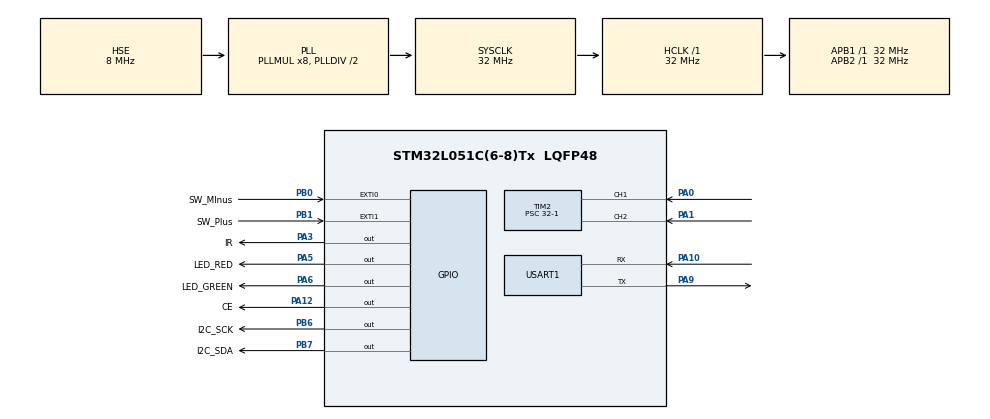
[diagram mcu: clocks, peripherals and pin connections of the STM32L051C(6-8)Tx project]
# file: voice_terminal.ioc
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Mcu.Family=STM32L0
Mcu.Name=STM32L051C(6-8)Tx
Mcu.Package=LQFP48
NVIC.EXTI0_1_IRQn=true\:0\:0\:false\:false\:true\:true\:true\:true
NVIC.TIM21_IRQn=true\:0\:0\:false\:false\:true\:true\:true\:true
NVIC.TIM2_IRQn=true\:1\:0\:true\:false\:true\:true\:true\:true
NVIC.TIM6_DAC_IRQn=true\:0\:0\:false\:false\:true\:true\:true\:true
PA0.GPIO_PuPd=GPIO_PULLUP
PA0.GPIO_Speed=GPIO_SPEED_FREQ_HIGH
PA0.Signal=S_TIM2_CH1
PA1.GPIO_PuPd=GPIO_PULLUP
PA1.GPIO_Speed=GPIO_SPEED_FREQ_HIGH
PA1.Signal=S_TIM2_CH2
PA10.Mode=Asynchronous
PA10.Signal=USART1_RX
PA12.GPIO_Label=CE
PA12.PinState=GPIO_PIN_RESET
PA12.Signal=GPIO_Output
PA13.Mode=Serial_Wire
PA13.Signal=SYS_SWDIO
PA14.Mode=Serial_Wire
PA14.Signal=SYS_SWCLK
PA3.GPIO_Label=IR
PA3.GPIO_Speed=GPIO_SPEED_FREQ_HIGH
PA3.Signal=GPIO_Output
PA5.GPIO_Label=LED_RED
PA5.PinState=GPIO_PIN_RESET
PA5.Signal=GPIO_Output
PA6.GPIO_Label=LED_GREEN
PA6.GPIO_PuPd=GPIO_NOPULL
PA6.PinState=GPIO_PIN_SET
PA6.Signal=GPIO_Output
PA9.Mode=Asynchronous
PA9.Signal=USART1_TX
PB0.GPIO_Label=SW_MInus
PB0.GPIO_ModeDefaultEXTI=GPIO_MODE_IT_RISING_FALLING
PB0.GPIO_PuPd=GPIO_PULLUP
PB0.Signal=GPXTI0
PB1.GPIO_Label=SW_Plus
PB1.GPIO_ModeDefaultEXTI=GPIO_MODE_IT_RISING_FALLING
PB1.GPIO_PuPd=GPIO_PULLUP
PB1.Signal=GPXTI1
PB6.GPIO_FM6=__NULL
PB6.GPIO_Label=I2C_SCK
PB6.GPIO_ModeDefaultOutputPP=GPIO_MODE_OUTPUT_OD
PB6.GPIO_PuPd=GPIO_NOPULL
PB6.GPIO_Speed=GPIO_SPEED_FREQ_HIGH
PB6.Signal=GPIO_Output
PB7.GPIO_FM7=__NULL
PB7.GPIO_Label=I2C_SDA
PB7.GPIO_ModeDefaultOutputPP=GPIO_MODE_OUTPUT_OD
PB7.GPIO_PuPd=GPIO_NOPULL
PB7.GPIO_Speed=GPIO_SPEED_FREQ_HIGH
PB7.Signal=GPIO_Output
PH0-OSC_IN.Mode=HSE-External-Oscillator
PH0-OSC_IN.Signal=RCC_OSC_IN
PH1-OSC_OUT.Mode=HSE-External-Oscillator
PH1-OSC_OUT.Signal=RCC_OSC_OUT
ProjectManager.HeapSize=0x200
ProjectManager.StackSize=0x400
ProjectManager.TargetToolchain=Makefile
RCC.AHBFreq_Value=32000000
RCC.APB1Freq_Value=32000000
RCC.APB1TimFreq_Value=32000000
RCC.APB2Freq_Value=32000000
RCC.APB2TimFreq_Value=32000000
RCC.HCLKFreq_Value=32000000
RCC.HSE_VALUE=8000000
RCC.HSI16_VALUE=16000000
RCC.HSI_VALUE=16000000
RCC.LSE_VALUE=32768
RCC.MSI_VALUE=2097000
RCC.PLLMUL=RCC_PLLMUL_8
RCC.PLLSourceVirtual=RCC_PLLSOURCE_HSE
RCC.PREFETCH_ENABLE=1
RCC.SYSCLKFreq_VALUE=32000000
RCC.SYSCLKSource=RCC_SYSCLKSOURCE_PLLCLK
RCC.VCOOutputFreq_Value=64000000
SH.S_TIM2_CH1.0=TIM2_CH1,Input_Capture1_from_TI1
SH.S_TIM2_CH2.0=TIM2_CH2,Input_Capture2_from_TI2
TIM2.Channel-Input_Capture1_from_TI1=TIM_CHANNEL_1
TIM2.Channel-Input_Capture2_from_TI2=TIM_CHANNEL_2
TIM2.ICFilter_CH1=0x03
TIM2.ICFilter_CH2=0x03
TIM2.Period=6000-1
TIM2.Prescaler=32-1
TIM21.AutoReloadPreload=TIM_AUTORELOAD_PRELOAD_ENABLE
TIM21.Period=12
TIM21.Prescaler=31
TIM22.Prescaler=32-1
TIM6.AutoReloadPreload=TIM_AUTORELOAD_PRELOAD_DISABLE
TIM6.Period=1000-1
TIM6.Prescaler=3200-1
USART1.VirtualMode-Asynchronous=VM_ASYNC
VP_TIM21_VS_ClockSourceINT.Mode=Internal
VP_TIM22_VS_ClockSourceINT.Mode=Internal
VP_TIM2_VS_ClockSourceINT.Mode=Internal
VP_TIM6_VS_ClockSourceINT.Mode=Enable_Timer
board=custom

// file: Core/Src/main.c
/* USER CODE BEGIN Header */
/**
 ******************************************************************************
 * @file           : main.c
 * @brief          : Main program body
 ******************************************************************************
 * @attention
 *
 * Copyright (c) 2023 STMicroelectronics.
 * All rights reserved.
 *
 * This software is licensed under terms that can be found in the LICENSE file
 * in the root directory of this software component.
 * If no LICENSE file comes with this software, it is provided AS-IS.
 *
 ******************************************************************************
 */
/* USER CODE END Header */
#include "main.h"
#include "tim.h"
#include "usart.h"
#include "gpio.h"

/* USER CODE BEGIN Includes */
#include "bk9535.h"
#include "syscall.h"
#include "key.h"
#include "config.h"
#include "irda.h"
#include "irtx.h"
#include "eeprom.h"
#include "oled.h"
#include "stdio.h"
#include "stdlib.h"
/* USER CODE END Includes */

void SystemClock_Config(void);

/* USER CODE BEGIN 0 */
vu32 time_delay;
uint8_t local_id = 0;

const uint8_t LOCAL_ID[16] = {
    0x10,
    0x11,
    0x12,
    0x13,
    0x14,
    0x15,
    0x16,
    0x17,
    0x18,
    0x19,
    0x1A,
    0x1B,
    0x1C,
    0x1E,
    0x1F,
    0x20};
/* USER CODE END 0 */

int main(void)
{
  /* USER CODE BEGIN 1 */
  // USER_DATA.rUserFreqIndex = DEFAULT_FREQ;
  USER_DATA.UserId.dword = DEF_USER_ID;
  /* USER CODE END 1 */

  /* MCU Configuration--------------------------------------------------------*/

  /* Reset of all peripherals, Initializes the Flash interface and the Systick. */
  HAL_Init();

  /* Configure the system clock */
  SystemClock_Config();

  /* Initialize all configured peripherals */
  MX_GPIO_Init();
  MX_USART1_UART_Init();
  MX_TIM6_Init();
  MX_TIM2_Init();
  MX_TIM21_Init();
  MX_TIM22_Init();
  /* USER CODE BEGIN 2 */

  HAL_TIM_Base_Start_IT(&htim2);
  KEY_Config();

  HAL_Delay(100);

  rWorkChannel = CHA;
  EEPROM_Read_W_CHECK(FREQ_ADDR, &USER_DATA.rUserFreqIndex, 1);
  EEPROM_Read_W_CHECK(LOCAL_ID_ADDR, &local_id, 1);
  Flash_LED(LED_RED, 50, 5, LIGHT_ON);
  HAL_GPIO_WritePin(CE_GPIO_Port, CE_Pin, SET);

  if (BK_Init())
    Flash_LED(LED_GREEN, 50, 5, LIGHT_ON);
  OLED_Init();
  t_PCMCfg cfg;
  cfg.bclk = PCM_SCK_I;
  cfg.dat = PCM_SDA_I;
  cfg.ch = RIGHT_CHANNEL;
  cfg.mode = PCM_SLAVE;
  cfg.lrck = PCM_LRCK_I;
  BK_Tx_I2SOpen(cfg);
  SwitchFreqByIndex(USER_DATA.rUserFreqIndex);
  OLED_ShowString(35, 23, (u8 *)"FREQ:", 12);
  OLED_ShowString(35, 45, (u8 *)"ID:", 12);
  char freq_char[9];
  float freq_num = FreqTableA[USER_DATA.rUserFreqIndex] / 10.0;
  sprintf(freq_char, "%.1f", freq_num);
  OLED_ShowString(35, 21, (u8 *)freq_char, 16);
  OLED_ShowString(77, 25, (u8 *)"MHz", 12);
  OLED_ShowString(35, 43, (u8 *)"ID:", 16);
  // Disp_ID(local_id);
  //   OLED_ShowNum(50, 40, 12, 2, 16);
  //         TX_WriteID(USER_DATA.UserId.dword);

  /* USER CODE END 2 */

  /* Infinite loop */
  /* USER CODE BEGIN WHILE */
  while (1)
  {
    static uint8_t interval = 0;
    /* USER CODE END WHILE */

    /* USER CODE BEGIN 3 */
    delay_nms(50);
    KEY_Scan();
    /* if (interval > 20)
    {
      IR_PostData(0x02);
      interval = 0;
    } */
    // HAL_GPIO_WritePin(IR_GPIO_Port, IR_Pin, SET);   限流电阻15欧，红外发射工作电流130mA
    uint8_t irda = get_IR_Address();
    if (irda != 0xee)
    {
      // printf("%0X", irda);
      char addr_char[6];
      sprintf(addr_char, "%#X ", irda);
      OLED_ShowString(35, 43, (u8 *)addr_char, 16);
      Flash_LED(LED_RED, 50, 1, FOLLOW_PREVIOUS);
      interval = 0;
    }
    else if (interval > 30)
    {
      char addr_char[6] = "NO IR";
      OLED_ShowString(35, 43, (u8 *)addr_char, 16);
    }
    /* if (remote_scan() == 0x02)
      Flash_LED(LED_RED, 50, 1, FOLLOW_PREVIOUS); */

    interval++;
  }
  /* USER CODE END 3 */
}

void SystemClock_Config(void)
{
  RCC_OscInitTypeDef RCC_OscInitStruct = {0};
  RCC_ClkInitTypeDef RCC_ClkInitStruct = {0};
  RCC_PeriphCLKInitTypeDef PeriphClkInit = {0};

  /** Configure the main internal regulator output voltage
   */
  __HAL_PWR_VOLTAGESCALING_CONFIG(PWR_REGULATOR_VOLTAGE_SCALE1);

  /** Initializes the RCC Oscillators according to the specified parameters
   * in the RCC_OscInitTypeDef structure.
   */
  RCC_OscInitStruct.OscillatorType = RCC_OSCILLATORTYPE_HSE;
  RCC_OscInitStruct.HSEState = RCC_HSE_ON;
  RCC_OscInitStruct.PLL.PLLState = RCC_PLL_ON;
  RCC_OscInitStruct.PLL.PLLSource = RCC_PLLSOURCE_HSE;
  RCC_OscInitStruct.PLL.PLLMUL = RCC_PLLMUL_8;
  RCC_OscInitStruct.PLL.PLLDIV = RCC_PLLDIV_2;
  if (HAL_RCC_OscConfig(&RCC_OscInitStruct) != HAL_OK)
  {
    Error_Handler();
  }

  /** Initializes the CPU, AHB and APB buses clocks
   */
  RCC_ClkInitStruct.ClockType = RCC_CLOCKTYPE_HCLK | RCC_CLOCKTYPE_SYSCLK | RCC_CLOCKTYPE_PCLK1 | RCC_CLOCKTYPE_PCLK2;
  RCC_ClkInitStruct.SYSCLKSource = RCC_SYSCLKSOURCE_PLLCLK;
  RCC_ClkInitStruct.AHBCLKDivider = RCC_SYSCLK_DIV1;
  RCC_ClkInitStruct.APB1CLKDivider = RCC_HCLK_DIV1;
  RCC_ClkInitStruct.APB2CLKDivider = RCC_HCLK_DIV1;

  if (HAL_RCC_ClockConfig(&RCC_ClkInitStruct, FLASH_LATENCY_1) != HAL_OK)
  {
    Error_Handler();
  }
  PeriphClkInit.PeriphClockSelection = RCC_PERIPHCLK_USART1;
  PeriphClkInit.Usart1ClockSelection = RCC_USART1CLKSOURCE_PCLK2;
  if (HAL_RCCEx_PeriphCLKConfig(&PeriphClkInit) != HAL_OK)
  {
    Error_Handler();
  }
}

/* USER CODE BEGIN 4 */
void Init_Param(void)
{
  uint8_t temp = 0;
  EEPROM_WRITE_W_CHECK(LOCAL_ID_ADDR, &temp, 1); // 默认出厂设置id索引号
  temp = 1;
  EEPROM_WRITE_W_CHECK(FREQ_ADDR, &temp, 1); // 默认出厂设置频点索引号
}

void Disp_Freq(u8 freq_index)
{
  char freq_char[5];
  float freq_num = FreqTableA[freq_index] / 10.0;
  sprintf(freq_char, "%.1f", freq_num);
  OLED_ShowString(35, 21, (u8 *)freq_char, 16);
}

void Disp_ID(u8 id_index)
{
  char id_char[5];
  sprintf(id_char, "%#X", LOCAL_ID[id_index]);
  OLED_ShowString(62, 43, (u8 *)id_char, 16);
}
/* USER CODE END 4 */

void Error_Handler(void)
{
  __disable_irq();
  while (1)
  {
  }
}
